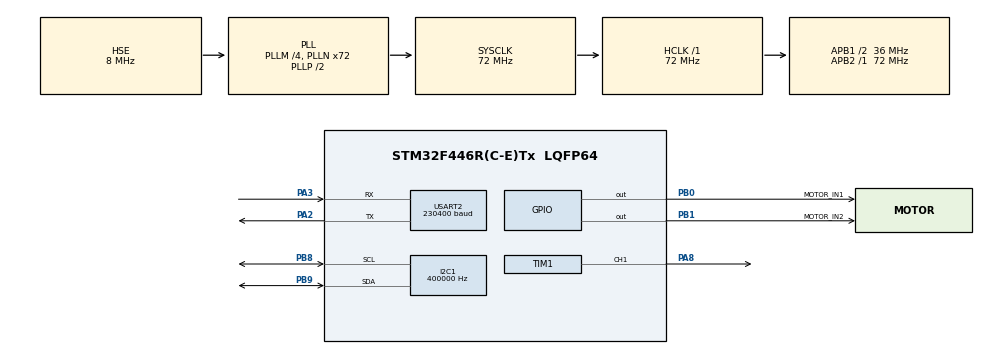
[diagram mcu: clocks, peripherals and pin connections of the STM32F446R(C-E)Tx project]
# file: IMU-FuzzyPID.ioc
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I2C1.ClockSpeed=400000
I2C1.I2C_Speed_Mode=I2C_Fast
Mcu.Family=STM32F4
Mcu.Name=STM32F446R(C-E)Tx
Mcu.Package=LQFP64
NVIC.PriorityGroup=NVIC_PRIORITYGROUP_4
NVIC.TIM3_IRQn=true\:5\:0\:true\:false\:true\:true\:true\:true
PA13.Mode=Serial_Wire
PA13.Signal=SYS_JTMS-SWDIO
PA14.Mode=Serial_Wire
PA14.Signal=SYS_JTCK-SWCLK
PA2.Mode=Asynchronous
PA2.Signal=USART2_TX
PA3.Mode=Asynchronous
PA3.Signal=USART2_RX
PA8.Signal=S_TIM1_CH1
PB0.GPIO_Label=MOTOR_IN1
PB0.Signal=GPIO_Output
PB1.GPIO_Label=MOTOR_IN2
PB1.Signal=GPIO_Output
PB3.Signal=SYS_JTDO-SWO
PB8.Mode=I2C
PB8.Signal=I2C1_SCL
PB9.Mode=I2C
PB9.Signal=I2C1_SDA
PC14-OSC32_IN.Signal=RCC_OSC32_IN
PC15-OSC32_OUT.Signal=RCC_OSC32_OUT
PH0-OSC_IN.Mode=HSE-External-Oscillator
PH0-OSC_IN.Signal=RCC_OSC_IN
PH1-OSC_OUT.Mode=HSE-External-Oscillator
PH1-OSC_OUT.Signal=RCC_OSC_OUT
ProjectManager.HeapSize=0x200
ProjectManager.StackSize=0x400
ProjectManager.TargetToolchain=STM32CubeIDE
RCC.48MHZClocksFreq_Value=84000000
RCC.AHBFreq_Value=72000000
RCC.APB1CLKDivider=RCC_HCLK_DIV2
RCC.APB1Freq_Value=36000000
RCC.APB1TimFreq_Value=72000000
RCC.APB2Freq_Value=72000000
RCC.APB2TimFreq_Value=72000000
RCC.CortexFreq_Value=72000000
RCC.FLatency-AdvancedSettings=FLASH_LATENCY_2
RCC.HCLKFreq_Value=72000000
RCC.HSE_VALUE=8000000
RCC.HSI_VALUE=16000000
RCC.PLLM=4
RCC.PLLN=72
RCC.PLLSourceVirtual=RCC_PLLSOURCE_HSE
RCC.SYSCLKFreq_VALUE=72000000
RCC.SYSCLKSource=RCC_SYSCLKSOURCE_PLLCLK
RCC.USBFreq_Value=72000000
RCC.VCOOutputFreq_Value=144000000
SH.S_TIM1_CH1.0=TIM1_CH1,PWM Generation1 CH1
TIM1.Channel-PWM\ Generation1\ CH1=TIM_CHANNEL_1
TIM1.Period=3599
TIM3.Period=49
TIM3.Prescaler=7199
USART2.BaudRate=230400
USART2.VirtualMode=VM_ASYNC
VP_TIM1_VS_ClockSourceINT.Mode=Internal
VP_TIM3_VS_ClockSourceINT.Mode=Internal
board=NUCLEO-F446RE

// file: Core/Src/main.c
/* USER CODE BEGIN Header */
/**
  ******************************************************************************
  * @file           : main.c
  * @brief          : Main program body
  ******************************************************************************
  * @attention
  *
  * Copyright (c) 2026 STMicroelectronics.
  * All rights reserved.
  *
  * This software is licensed under terms that can be found in the LICENSE file
  * in the root directory of this software component.
  * If no LICENSE file comes with this software, it is provided AS-IS.
  *
  ******************************************************************************
  */
/* printf("%f") needs no "Use float with printf" (-u _printf_float) project setting: USER CODE 0 links it. */
/* USER CODE END Header */
#include "main.h"

/* USER CODE BEGIN Includes */
#include <stdio.h>
#include <stdlib.h>
#include <string.h>
#include <math.h>
/* USER CODE END Includes */

/* USER CODE BEGIN PTD */
typedef struct { float r, psi, e, dk[3], k[3], delta_cmd, u; int16_t acc[3]; uint32_t isr_us; uint8_t failsafe; } telem_t;
/* USER CODE END PTD */

/* USER CODE BEGIN PD */
/* ---- Hardware map. Pins are assigned in IMU-FuzzyPID.ioc; change them there and these follow. ---- */
#define IMU_I2C               hi2c1                 // I2C1: PB8 SCL, PB9 SDA, 400 kHz
#define IMU_ADDR              (0x68 << 1)           // 0xD0, HAL expects the 8-bit address
#define PWM_TIM               htim1                 // TIM1_CH1 = PA8 -> L298N ENA, 72 MHz / 3600 = 20 kHz
#define PWM_CH                TIM_CHANNEL_1
#define CTRL_TIM              htim3                 // 72 MHz / 7200 / 50 = 200 Hz update IRQ
#define IN1_PORT              MOTOR_IN1_GPIO_Port   // PB0
#define IN1_PIN               MOTOR_IN1_Pin
#define IN2_PORT              MOTOR_IN2_GPIO_Port   // PB1
#define IN2_PIN               MOTOR_IN2_Pin

/* ---- MPU6050 ---- */
#define MPU6050_CONFIG        0x1A
#define MPU6050_ACCEL_XOUT_H  0x3B
#define MPU6050_PWR_MGMT_1    0x6B
#define MPU6050_WHO_AM_I      0x75
#define GYRO_LSB_PER_DPS      131.0f        // ±250 °/s
#define GYRO_CAL_SAMPLES      200           // x 5 ms = ~1 s at rest
#define GYRO_DEADBAND_DPS     0.5f          // |r| below this reads 0 so psi doesn't creep at rest; 0 disables
#define IMU_TIMEOUT_MS        2
#define IMU_MAX_FAILS         20            // 100 ms of bad reads in a row -> motor off

/* ---- Loop timing ---- */
#define TS_INNER              0.005f        // 200 Hz
#define OUTER_DIV             10            // outer loop every 10th tick
#define TS_OUTER              (TS_INNER * OUTER_DIV)   // 0.05 s = 20 Hz
#define TELEM_PERIOD_MS       100           // one ~1.8 kB frame takes ~77 ms at 230400 baud

/* ---- Outer heading loop + fuzzy scheduler ---- */
#define PSI_D                 0.0f          // heading setpoint [deg]; boot heading is 0
#define DELTA_MAX             30.0f         // steering command limit [deg]
#define GE                    (3.0f / 30.0f)   // e    [deg]   -> fuzzy universe [-3, 3]
#define GEC                   (3.0f / 15.0f)   // edot [deg/s] -> fuzzy universe [-3, 3]

/* ---- Inner steering loop ---- */
#define BENCH_TEST_NO_ENCODER 1             // 1: delta = 0, so u follows delta_cmd (no steering sensor yet)
#define IN_KP                 (1.0f / DELTA_MAX)   // full duty at full-lock error
#define IN_KI                 (BENCH_TEST_NO_ENCODER ? 0.0f : 0.10f)  // bench: no delta feedback, an I-term would only ramp u to the rail
#define IN_KD                 0.002f
#define IN_D_ALPHA            0.2f          // derivative LPF: Ts / (Tf + Ts), Tf = 20 ms
#define IN_DEADBAND           0.5f          // |e_delta| below this [deg]: motor off, integrator frozen
#define BOOST                 0.3f          // backlash kick on direction reversal...
#define BOOST_TICKS           4             // ...for this many 5 ms ticks
#define U_MIN                 0.15f         // smallest non-zero duty (motor stiction)
/* USER CODE END PD */

I2C_HandleTypeDef hi2c1;

TIM_HandleTypeDef htim1;
TIM_HandleTypeDef htim3;

UART_HandleTypeDef huart2;

/* USER CODE BEGIN PV */
volatile uint8_t fuzzy_enabled = 1;     // 0 = fixed BASE_GAINS. Flip it live from Live Expressions.

/* Outer gains {Kp [deg/deg], Ki [deg/(deg*s)], Kd [deg/(deg/s)]}: K = K_MIN + dK * (K_MAX - K_MIN) */
static const float K_MIN[3]      = {0.5f, 0.00f, 0.05f};
static const float K_MAX[3]      = {2.0f, 0.20f, 0.30f};
static const float BASE_GAINS[3] = {1.0f, 0.05f, 0.15f};

/* Fuzzy rules: row = e set, column = edot set, both in order NL NM NS ZE PS PM PL.
   Entry n is the crisp singleton 0.25 * n: 0 = 0.0, 1 = 0.25, 2 = 0.5, 3 = 0.75, 4 = 1.0 */
static const uint8_t RULE_KP[7][7] = {  // push hard while |e| is large and growing, ease off as it closes
  {4, 4, 4, 3, 3, 2, 2},
  {4, 4, 3, 3, 2, 2, 1},
  {3, 3, 3, 2, 2, 1, 1},
  {2, 2, 1, 1, 1, 2, 2},
  {1, 1, 2, 2, 3, 3, 3},
  {1, 2, 2, 3, 3, 4, 4},
  {2, 2, 3, 3, 4, 4, 4},
};
static const uint8_t RULE_KI[7][7] = {  // integrate only near the setpoint, never on big errors
  {0, 0, 0, 0, 0, 0, 0},
  {0, 0, 1, 1, 1, 0, 0},
  {1, 1, 2, 3, 2, 1, 1},
  {1, 2, 3, 4, 3, 2, 1},
  {1, 1, 2, 3, 2, 1, 1},
  {0, 0, 1, 1, 1, 0, 0},
  {0, 0, 0, 0, 0, 0, 0},
};
static const uint8_t RULE_KD[7][7] = {  // damp hardest near the setpoint while still turning fast
  {1, 1, 0, 0, 0, 1, 2},
  {1, 1, 1, 0, 1, 2, 2},
  {2, 1, 1, 1, 2, 3, 3},
  {4, 3, 2, 1, 2, 3, 4},
  {3, 3, 2, 1, 1, 1, 2},
  {2, 2, 1, 0, 1, 1, 1},
  {2, 1, 0, 0, 0, 1, 1},
};

static float gyro_bias_dps;
static volatile telem_t telem;          // ISR writes it, main loop snapshots it with IRQs off
/* USER CODE END PV */

void SystemClock_Config(void);
static void MX_GPIO_Init(void);
static void MX_USART2_UART_Init(void);
static void MX_I2C1_Init(void);
static void MX_TIM1_Init(void);
static void MX_TIM3_Init(void);

/* USER CODE BEGIN 0 */
// Link newlib-nano's float formatter so printf("%f") works. Same effect as the
// project setting "Use float with printf from newlib-nano (-u _printf_float)".
__asm(".global _printf_float");

// printf -> USART2 (the ST-LINK virtual COM port). syscalls.c _write() calls this.
int __io_putchar(int ch)
{
  HAL_UART_Transmit(&huart2, (uint8_t *)&ch, 1, HAL_MAX_DELAY);
  return ch;
}

static float clampf(float x, float lo, float hi) { return fminf(fmaxf(x, lo), hi); }

// Dashboard gauges. Each returns its own static buffer: use at most once per printf.
// [#######---]  x in [0, 1]
static const char *bar_uni(float x)
{
  static char s[] = "[----------]";
  int n = lrintf(clampf(x, 0.0f, 1.0f) * 10.0f);
  for (int i = 0; i < 10; i++)
    s[1 + i] = i < n ? '#' : '-';
  return s;
}

// [   <<<<<<<|          ]  x in [-full, +full]: negative fills left of the centre, positive right
static const char *bar_bi(float x, float full)
{
  static char s[] = "[          |          ]";
  int n = lrintf(clampf(fabsf(x) / full, 0.0f, 1.0f) * 10.0f);
  for (int i = 0; i < 10; i++)
  {
    s[10 - i] = x < 0.0f && i < n ? '<' : ' ';
    s[12 + i] = x > 0.0f && i < n ? '>' : ' ';
  }
  return s;
}

/* ---- Top view: 39 x 10 character ship outline, N (boot heading = setpoint) up. Main loop only. ---- */
#define CV_W          39
#define CV_H          10
#define CV_CY         4             // canvas row of the ship centre (W and E sit on it)
#define D2R           0.01745329f

// Body frame seen from above: x to the bow, y to starboard. Units are terminal columns.
static const float SHIP_V[6][2] = {
  {6, 0},                                                   // 0 bow
  {1.5f, -3.5f}, {-6, -3.5f}, {-6, 3.5f}, {1.5f, 3.5f},          // 1-4 port shoulder, port quarter, stbd quarter, stbd shoulder
  {-6, 0},                                                  // 5 rudder hinge (6, the tip, is computed)
};
static const uint8_t SHIP_E[6][2] = {{0, 1}, {1, 2}, {2, 3}, {3, 4}, {4, 0}, {5, 6}};

static void cv_plot(char cv[CV_H][CV_W + 1], int x, int y, char ch)
{
  if (x >= 0 && x < CV_W && y >= 0 && y < CV_H)
    cv[y][x] = ch;
}

// Bresenham. One character per edge, picked from its on-screen slope (a row is ~2 columns tall).
static void cv_line(char cv[CV_H][CV_W + 1], int x0, int y0, int x1, int y1)
{
  int dx = abs(x1 - x0), dy = -abs(y1 - y0), sx = x0 < x1 ? 1 : -1, sy = y0 < y1 ? 1 : -1, err = dx + dy;
  char ch = dx > -3 * dy ? '-' : -dy > dx ? '|' : sx == sy ? '\\' : '/';

  for (;;)
  {
    cv_plot(cv, x0, y0, ch);
    if (x0 == x1 && y0 == y1)
      return;
    int e2 = 2 * err;
    if (e2 >= dy) { err += dy; x0 += sx; }
    if (e2 <= dx) { err += dx; y0 += sy; }
  }
}

// Body (x, y) -> canvas, yawed by psi (clockwise). North is up; rows are ~2 columns tall.
static void ship_project(float x, float y, float s, float c, int *col, int *row)
{
  *col = lrintf(CV_W / 2 + x * s + y * c);
  *row = lrintf(CV_CY - (x * c - y * s) * 0.5f);
}

// psi [deg] turns the hull (+ = clockwise), delta [deg] swings the rudder (+ = trailing edge to
// starboard = bow turns to starboard). frame animates the wake.
static void ship_render(char cv[CV_H][CV_W + 1], float psi, float delta, uint32_t frame)
{
  float s = sinf(psi * D2R), c = cosf(psi * D2R), d = clampf(delta, -DELTA_MAX, DELTA_MAX) * D2R;
  float v[7][2];
  int px[7], py[7], wx, wy;

  for (int i = 0; i < CV_H; i++)
  {
    memset(cv[i], ' ', CV_W);
    cv[i][CV_W] = '\0';
  }
  cv[0][CV_W / 2] = 'N';  // compass letters sit under the ship
  cv[CV_H - 1][CV_W / 2] = 'S';
  cv[CV_CY][0] = 'W';
  cv[CV_CY][CV_W - 1] = 'E';
  for (int k = 0; k < 2; k++)  // wake: a V of ~ sliding aft one column per frame
    for (int side = -1; side <= 1; side += 2)
    {
      float a = 2.0f + 3.0f * k + frame % 3;
      ship_project(-8.0f - a, side * 0.8f * a, s, c, &wx, &wy);
      cv_plot(cv, wx, wy, '~');
    }

  memcpy(v, SHIP_V, sizeof SHIP_V);
  v[6][0] = -6.0f - 3.0f * cosf(d);  // rudder tip: 3 long, swung by delta about the hinge
  v[6][1] = 3.0f * sinf(d);
  for (int i = 0; i < 7; i++)
    ship_project(v[i][0], v[i][1], s, c, &px[i], &py[i]);
  for (int i = 0; i < 6; i++)
    cv_line(cv, px[SHIP_E[i][0]], py[SHIP_E[i][0]], px[SHIP_E[i][1]], py[SHIP_E[i][1]]);
  for (int i = 1; i <= 4; i++)
    cv_plot(cv, px[i], py[i], '+');
  int bx = px[0] - CV_W / 2, by = 2 * (py[0] - CV_CY);  // bow marker points where the bow points
  cv_plot(cv, px[0], py[0], abs(bx) > abs(by) ? (bx > 0 ? '>' : '<') : (by < 0 ? '^' : 'v'));
}

// Tilt from gravity [deg]: roll + = starboard down, pitch + = bow down (MPU X arrow at the bow,
// chip face up). Any common scale (raw counts, sums of samples) cancels inside atan2.
static void accel_tilt(float ax, float ay, float az, float *roll, float *pitch)
{
  *roll = atan2f(ay, az) / D2R;
  *pitch = atan2f(-ax, sqrtf(ay * ay + az * az)) / D2R;
}

static HAL_StatusTypeDef MPU6050_Init(void)
{
  uint8_t who = 0, wake = 0x00, dlpf = 0x03;  // DLPF 42 Hz: stops 200 Hz sampling aliasing gyro noise

  if (HAL_I2C_Mem_Read(&IMU_I2C, IMU_ADDR, MPU6050_WHO_AM_I, I2C_MEMADD_SIZE_8BIT, &who, 1, 100) != HAL_OK)
    return HAL_ERROR;
  printf("WHO_AM_I = 0x%02X (0x68 genuine, 0x70 clone)\r\n", who);

  // Clear the SLEEP bit: PWR_MGMT_1 = 0x00
  if (HAL_I2C_Mem_Write(&IMU_I2C, IMU_ADDR, MPU6050_PWR_MGMT_1, I2C_MEMADD_SIZE_8BIT, &wake, 1, 100) != HAL_OK)
    return HAL_ERROR;
  return HAL_I2C_Mem_Write(&IMU_I2C, IMU_ADDR, MPU6050_CONFIG, I2C_MEMADD_SIZE_8BIT, &dlpf, 1, 100);
}

// One 14-byte burst from ACCEL_XOUT_H: AX AY AZ TEMP GX GY GZ, big-endian pairs.
// r = bias-corrected yaw rate [deg/s], clockwise-positive; acc = raw accel (16384 LSB/g).
// HAL_ERROR on a bus fault or a railed (stuck/saturated) gyro reading.
// ponytail: a bus stuck BUSY costs HAL's fixed 25 ms per call; add SCL-toggle bus recovery if that ever shows up.
static HAL_StatusTypeDef imu_read_yaw_rate_dps(float *r, int16_t acc[3])
{
  uint8_t b[14];

  if (HAL_I2C_Mem_Read(&IMU_I2C, IMU_ADDR, MPU6050_ACCEL_XOUT_H, I2C_MEMADD_SIZE_8BIT, b, 14, IMU_TIMEOUT_MS) != HAL_OK)
    return HAL_ERROR;
  for (int i = 0; i < 3; i++)
    acc[i] = (int16_t)(b[2 * i] << 8 | b[2 * i + 1]);
  int16_t gz = (int16_t)(b[12] << 8 | b[13]);
  if (gz == INT16_MAX || gz == INT16_MIN)
    return HAL_ERROR;
  *r = -gz / GYRO_LSB_PER_DPS - gyro_bias_dps;  // chip Z points up (az = +1 g at rest), so +gz is counter-clockwise
  return HAL_OK;
}

// L298N: u > 0 FWD, u < 0 REV, u == 0 both IN low (coast). Duty = |u| * ARR on ENA.
static void motor_set(float u)
{
  HAL_GPIO_WritePin(IN1_PORT, IN1_PIN, u > 0.0f ? GPIO_PIN_SET : GPIO_PIN_RESET);
  HAL_GPIO_WritePin(IN2_PORT, IN2_PIN, u < 0.0f ? GPIO_PIN_SET : GPIO_PIN_RESET);
  __HAL_TIM_SET_COMPARE(&PWM_TIM, PWM_CH, (uint32_t)(fabsf(u) * __HAL_TIM_GET_AUTORELOAD(&PWM_TIM)));
}

// 7 triangular sets NL..PL, unit-spaced on [-3, 3]. Any input sits in at most 2 adjacent sets,
// so only 2 x 2 = 4 rules fire. min() AND, weighted average of singletons (centroid). dk[] in [0, 1].
static void fuzzy_schedule(float e, float edot, float dk[3])
{
  float x = clampf(e * GE, -3.0f, 3.0f) + 3.0f;      // 0..6, set index space
  float y = clampf(edot * GEC, -3.0f, 3.0f) + 3.0f;
  int i = x < 6.0f ? (int)x : 5, j = y < 6.0f ? (int)y : 5;
  float mx[2] = {i + 1 - x, x - i}, my[2] = {j + 1 - y, y - j};  // membership in set i / i+1
  float wsum = 0.0f, acc[3] = {0};

  for (int a = 0; a < 2; a++)
    for (int b = 0; b < 2; b++)
    {
      float w = fminf(mx[a], my[b]);
      wsum   += w;
      acc[0] += w * RULE_KP[i + a][j + b];
      acc[1] += w * RULE_KI[i + a][j + b];
      acc[2] += w * RULE_KD[i + a][j + b];
    }
  for (int k = 0; k < 3; k++)
    dk[k] = 0.25f * acc[k] / wsum;  // wsum >= 0.5: each input has one set with membership >= 0.5
}

// Boot check: a grid point returns its table entry, a midpoint blends its two neighbours,
// out-of-range inputs clamp to the edge sets, and the heading wrap folds 190 to -170.
static int fuzzy_selftest(void)
{
  float dk[3];
  int ok;

  fuzzy_schedule(0.0f, 0.0f, dk);
  ok = dk[0] == 0.25f * RULE_KP[3][3] && dk[1] == 0.25f * RULE_KI[3][3] && dk[2] == 0.25f * RULE_KD[3][3];
  fuzzy_schedule(15.0f, 0.0f, dk);  // e = 15 deg -> 1.5 = halfway PS..PM
  ok &= fabsf(dk[0] - 0.25f * (RULE_KP[4][3] + RULE_KP[5][3]) / 2.0f) < 1e-6f;
  fuzzy_schedule(1e6f, -1e6f, dk);  // e = PL, edot = NL
  ok &= dk[0] == 0.25f * RULE_KP[6][0];
  ok &= remainderf(190.0f, 360.0f) == -170.0f;
  return ok;
}

// 20 Hz heading PID -> steering command delta_cmd [deg]. D on measurement (-Kd*r),
// conditional-integration anti-windup.
static float outer_step(float e, float r, float dk[3], float k[3])
{
  static float integ;

  fuzzy_schedule(e, -r, dk);  // edot = -r because psi_d is constant
  for (int n = 0; n < 3; n++)
    k[n] = fuzzy_enabled ? K_MIN[n] + dk[n] * (K_MAX[n] - K_MIN[n]) : BASE_GAINS[n];
#if BENCH_TEST_NO_ENCODER
  k[1] = 0.0f;  // bench: no hull turns the heading back, so an I-term only winds the rudder onto its stop
#endif

  float di = k[1] * e * TS_OUTER;
  float u = k[0] * e + integ + di - k[2] * r;
  if (fabsf(u) < DELTA_MAX || u * e < 0.0f)  // integrate only when unsaturated or unwinding
    integ += di;
  return clampf(k[0] * e + integ - k[2] * r, -DELTA_MAX, DELTA_MAX);
}

// 200 Hz steering PID -> signed motor command u in [-1, 1].
static float inner_step(float delta_cmd, float delta)
{
  static float integ, d_filt, delta_prev;
  static int8_t last_dir;
  static uint8_t boost_left;
  float e = delta_cmd - delta;

  d_filt += IN_D_ALPHA * (-(delta - delta_prev) / TS_INNER - d_filt);  // D on measurement, low-passed
  delta_prev = delta;
  if (fabsf(e) < IN_DEADBAND)
    return 0.0f;  // deadband: motor off, integrator frozen

  float di = IN_KI * e * TS_INNER;
  float u = IN_KP * e + integ + di + IN_KD * d_filt;
  if (fabsf(u) < 1.0f || u * e < 0.0f)
    integ += di;
  u = clampf(IN_KP * e + integ + IN_KD * d_filt, -1.0f, 1.0f);

  int8_t dir = (u > 0.0f) - (u < 0.0f);
  if (dir && last_dir && dir != last_dir)
    boost_left = BOOST_TICKS;  // reversal: kick through gear backlash
  if (dir)
    last_dir = dir;
  u = dir * (U_MIN + (1.0f - U_MIN) * fabsf(u));  // lift past stiction, keep the slope
  if (boost_left)
  {
    boost_left--;
    u += dir * BOOST;
  }
  return clampf(u, -1.0f, 1.0f);
}
/* USER CODE END 0 */

int main(void)
{

  /* MCU Configuration--------------------------------------------------------*/

  /* Reset of all peripherals, Initializes the Flash interface and the Systick. */
  HAL_Init();

  /* Configure the system clock */
  SystemClock_Config();

  /* Initialize all configured peripherals */
  MX_GPIO_Init();
  MX_USART2_UART_Init();
  MX_I2C1_Init();
  MX_TIM1_Init();
  MX_TIM3_Init();
  /* USER CODE BEGIN 2 */
  HAL_Delay(100);  // MPU6050 power-up time (datasheet: 100 ms max)
  if (MPU6050_Init() != HAL_OK)
  {
    printf("MPU6050 not responding at 0x68. I2C bus scan:\r\n");
    for (uint8_t a = 1; a < 128; a++)
      if (HAL_I2C_IsDeviceReady(&IMU_I2C, a << 1, 1, 10) == HAL_OK)
        printf("  device at 0x%02X\r\n", a);
    printf("Scan done - nothing listed = check SDA/SCL swap, 0x69 = AD0 is high\r\n");
    Error_Handler();
  }
  printf("MPU6050 awake\r\n");

  if (!fuzzy_selftest())
  {
    printf("Fuzzy self-test FAILED\r\n");
    Error_Handler();
  }

  // IMU calibration, board still and level: average the gyro Z zero-rate bias (gyro_bias_dps is
  // still 0 here) and the accel, whose tilt becomes the level reference for roll/pitch.
  printf("Calibrating IMU - keep the board still and level...\r\n");
  HAL_Delay(100);  // let the gyro settle after wake-up
  float sum = 0.0f, r, a[3] = {0}, roll0, pitch0;
  int16_t acc[3];
  for (int n = 0; n < GYRO_CAL_SAMPLES; n++)
  {
    if (imu_read_yaw_rate_dps(&r, acc) != HAL_OK)
    {
      printf("IMU read error during calibration\r\n");
      Error_Handler();
    }
    sum += r;
    for (int i = 0; i < 3; i++)
      a[i] += acc[i];
    HAL_Delay(5);
  }
  gyro_bias_dps = sum / GYRO_CAL_SAMPLES;
  // ponytail: subtracting angles is exact only for a small mount tilt; rotate the gravity vector instead if the board sits >10 deg off level
  accel_tilt(a[0], a[1], a[2], &roll0, &pitch0);
  printf("Gyro Z bias %+.3f deg/s, level offset roll %+.1f / pitch %+.1f deg removed. Heading now 0.\r\n",
         gyro_bias_dps, roll0, pitch0);

  CoreDebug->DEMCR |= CoreDebug_DEMCR_TRCENA_Msk;  // DWT cycle counter, for the ISR load readout
  DWT->CTRL |= DWT_CTRL_CYCCNTENA_Msk;
  printf("\033[2J\033[?25l");  // clear screen, hide cursor: from here the dashboard redraws in place
  HAL_TIM_PWM_Start(&PWM_TIM, PWM_CH);
  HAL_TIM_Base_Start_IT(&CTRL_TIM);  // 200 Hz loop now runs in HAL_TIM_PeriodElapsedCallback
  uint32_t t0 = HAL_GetTick(), frame = 0;
  float roll = 0.0f, pitch = 0.0f;  // accel tilt [deg], low-passed per frame
  /* USER CODE END 2 */

  /* Infinite loop */
  while (1)
  {

    /* USER CODE BEGIN 3 */
    while (HAL_GetTick() - t0 < TELEM_PERIOD_MS) {}
    t0 = HAL_GetTick();

    __disable_irq();
    telem_t t = telem;  // consistent snapshot: the ISR can't run mid-copy
    __enable_irq();

    float rl, pt;
    accel_tilt(t.acc[0], t.acc[1], t.acc[2], &rl, &pt);
    roll  += 0.25f * (rl - roll0 - roll);    // relative to the boot level, low-passed
    pitch += 0.25f * (pt - pitch0 - pitch);  // (alpha 0.25) to reject motor vibration

    char cv[CV_H][CV_W + 1];
    ship_render(cv, t.psi, t.delta_cmd, frame++);
    const char *mode = t.failsafe ? "IMU FAILSAFE" : fuzzy_enabled ? "FUZZY ACTIVE" : "FIXED GAINS";
    const char *dir = t.u > 0.0f ? "FWD" : t.u < 0.0f ? "REV" : "STOP";

    printf("\033[H"
           "+================================================================================+\r\n"
           "|          STM32F446RE FUZZY CASCADE PID - TOP VIEW & BENCH TELEMETRY            |\r\n");
    printf("| Mode: [%-12s] | Loop: 200Hz/20Hz | ISR Load: %4lu us / 5000 us          |\r\n", mode, t.isr_us);
    printf("+-----------------------------------------+--------------------------------------+\r\n"
           "| TOP VIEW: HEADING  (N = 0 deg, setpoint)| 1. IMU & ATTITUDE (MPU6050)          |\r\n");
    printf("|                                         |  Yaw Rate (r)   : %+7.2f deg/s      |\r\n", t.r);
    printf("| %s |  Heading (psi)  : %+7.2f deg        |\r\n", cv[0], t.psi);
    printf("| %s |  Roll / Pitch   : %+6.1f / %+5.1f deg |\r\n", cv[1], roll, pitch);
    printf("| %s |  Setpoint (psid): %7.2f deg        |\r\n", cv[2], PSI_D);
    printf("| %s |  Error (e)      : %+7.2f deg        |\r\n", cv[3], t.e);
    printf("| %s |  Err: %s        |\r\n", cv[4], bar_bi(t.e, 30.0f));
    printf("| %s +--------------------------------------+\r\n", cv[5]);
    printf("| %s | 2. FUZZY GAIN SCHEDULER (20 Hz)      |\r\n", cv[6]);
    printf("| %s |  dKp: %4.2f %s Kp: %4.2f     |\r\n", cv[7], t.dk[0], bar_uni(t.dk[0]), t.k[0]);
    printf("| %s |  dKi: %4.2f %s Ki: %4.2f     |\r\n", cv[8], t.dk[1], bar_uni(t.dk[1]), t.k[1]);
    printf("| %s |  dKd: %4.2f %s Kd: %4.2f     |\r\n", cv[9], t.dk[2], bar_uni(t.dk[2]), t.k[2]);
    printf("+-----------------------------------------+--------------------------------------+\r\n"
           "| 3. CASCADE ACTUATOR & L298N MOTOR DRIVER (20 kHz PWM)                          |\r\n");
    printf("|  Steering Cmd (delta_cmd) : %+6.2f deg  | L298N PWM (PA8): %5.1f %% [ %-4s]     |\r\n",
           t.delta_cmd, fabsf(t.u) * 100.0f, dir);
    printf("|  Signed Command (u)       : %+6.2f      | Drive REV %s FWD|\r\n", t.u, bar_bi(t.u, 1.0f));
    printf("+================================================================================+\r\n");
  }
  /* USER CODE END 3 */
}

void SystemClock_Config(void)
{
  RCC_OscInitTypeDef RCC_OscInitStruct = {0};
  RCC_ClkInitTypeDef RCC_ClkInitStruct = {0};

  /** Configure the main internal regulator output voltage
  */
  __HAL_RCC_PWR_CLK_ENABLE();
  __HAL_PWR_VOLTAGESCALING_CONFIG(PWR_REGULATOR_VOLTAGE_SCALE3);

  /** Initializes the RCC Oscillators according to the specified parameters
  * in the RCC_OscInitTypeDef structure.
  */
  RCC_OscInitStruct.OscillatorType = RCC_OSCILLATORTYPE_HSE;
  RCC_OscInitStruct.HSEState = RCC_HSE_ON;
  RCC_OscInitStruct.PLL.PLLState = RCC_PLL_ON;
  RCC_OscInitStruct.PLL.PLLSource = RCC_PLLSOURCE_HSE;
  RCC_OscInitStruct.PLL.PLLM = 4;
  RCC_OscInitStruct.PLL.PLLN = 72;
  RCC_OscInitStruct.PLL.PLLP = RCC_PLLP_DIV2;
  RCC_OscInitStruct.PLL.PLLQ = 2;
  RCC_OscInitStruct.PLL.PLLR = 2;
  if (HAL_RCC_OscConfig(&RCC_OscInitStruct) != HAL_OK)
  {
    Error_Handler();
  }

  /** Initializes the CPU, AHB and APB buses clocks
  */
  RCC_ClkInitStruct.ClockType = RCC_CLOCKTYPE_HCLK|RCC_CLOCKTYPE_SYSCLK
                              |RCC_CLOCKTYPE_PCLK1|RCC_CLOCKTYPE_PCLK2;
  RCC_ClkInitStruct.SYSCLKSource = RCC_SYSCLKSOURCE_PLLCLK;
  RCC_ClkInitStruct.AHBCLKDivider = RCC_SYSCLK_DIV1;
  RCC_ClkInitStruct.APB1CLKDivider = RCC_HCLK_DIV2;
  RCC_ClkInitStruct.APB2CLKDivider = RCC_HCLK_DIV1;

  if (HAL_RCC_ClockConfig(&RCC_ClkInitStruct, FLASH_LATENCY_2) != HAL_OK)
  {
    Error_Handler();
  }
}

static void MX_I2C1_Init(void)
{

  hi2c1.Instance = I2C1;
  hi2c1.Init.ClockSpeed = 400000;
  hi2c1.Init.DutyCycle = I2C_DUTYCYCLE_2;
  hi2c1.Init.OwnAddress1 = 0;
  hi2c1.Init.AddressingMode = I2C_ADDRESSINGMODE_7BIT;
  hi2c1.Init.DualAddressMode = I2C_DUALADDRESS_DISABLE;
  hi2c1.Init.OwnAddress2 = 0;
  hi2c1.Init.GeneralCallMode = I2C_GENERALCALL_DISABLE;
  hi2c1.Init.NoStretchMode = I2C_NOSTRETCH_DISABLE;
  if (HAL_I2C_Init(&hi2c1) != HAL_OK)
  {
    Error_Handler();
  }

}

static void MX_TIM1_Init(void)
{

  TIM_ClockConfigTypeDef sClockSourceConfig = {0};
  TIM_MasterConfigTypeDef sMasterConfig = {0};
  TIM_OC_InitTypeDef sConfigOC = {0};
  TIM_BreakDeadTimeConfigTypeDef sBreakDeadTimeConfig = {0};

  htim1.Instance = TIM1;
  htim1.Init.Prescaler = 0;
  htim1.Init.CounterMode = TIM_COUNTERMODE_UP;
  htim1.Init.Period = 3599;
  htim1.Init.ClockDivision = TIM_CLOCKDIVISION_DIV1;
  htim1.Init.RepetitionCounter = 0;
  htim1.Init.AutoReloadPreload = TIM_AUTORELOAD_PRELOAD_DISABLE;
  if (HAL_TIM_Base_Init(&htim1) != HAL_OK)
  {
    Error_Handler();
  }
  sClockSourceConfig.ClockSource = TIM_CLOCKSOURCE_INTERNAL;
  if (HAL_TIM_ConfigClockSource(&htim1, &sClockSourceConfig) != HAL_OK)
  {
    Error_Handler();
  }
  if (HAL_TIM_PWM_Init(&htim1) != HAL_OK)
  {
    Error_Handler();
  }
  sMasterConfig.MasterOutputTrigger = TIM_TRGO_RESET;
  sMasterConfig.MasterSlaveMode = TIM_MASTERSLAVEMODE_DISABLE;
  if (HAL_TIMEx_MasterConfigSynchronization(&htim1, &sMasterConfig) != HAL_OK)
  {
    Error_Handler();
  }
  sConfigOC.OCMode = TIM_OCMODE_PWM1;
  sConfigOC.Pulse = 0;
  sConfigOC.OCPolarity = TIM_OCPOLARITY_HIGH;
  sConfigOC.OCNPolarity = TIM_OCNPOLARITY_HIGH;
  sConfigOC.OCFastMode = TIM_OCFAST_DISABLE;
  sConfigOC.OCIdleState = TIM_OCIDLESTATE_RESET;
  sConfigOC.OCNIdleState = TIM_OCNIDLESTATE_RESET;
  if (HAL_TIM_PWM_ConfigChannel(&htim1, &sConfigOC, TIM_CHANNEL_1) != HAL_OK)
  {
    Error_Handler();
  }
  sBreakDeadTimeConfig.OffStateRunMode = TIM_OSSR_DISABLE;
  sBreakDeadTimeConfig.OffStateIDLEMode = TIM_OSSI_DISABLE;
  sBreakDeadTimeConfig.LockLevel = TIM_LOCKLEVEL_OFF;
  sBreakDeadTimeConfig.DeadTime = 0;
  sBreakDeadTimeConfig.BreakState = TIM_BREAK_DISABLE;
  sBreakDeadTimeConfig.BreakPolarity = TIM_BREAKPOLARITY_HIGH;
  sBreakDeadTimeConfig.AutomaticOutput = TIM_AUTOMATICOUTPUT_DISABLE;
  if (HAL_TIMEx_ConfigBreakDeadTime(&htim1, &sBreakDeadTimeConfig) != HAL_OK)
  {
    Error_Handler();
  }
  HAL_TIM_MspPostInit(&htim1);

}

static void MX_TIM3_Init(void)
{

  TIM_ClockConfigTypeDef sClockSourceConfig = {0};
  TIM_MasterConfigTypeDef sMasterConfig = {0};

  htim3.Instance = TIM3;
  htim3.Init.Prescaler = 7199;
  htim3.Init.CounterMode = TIM_COUNTERMODE_UP;
  htim3.Init.Period = 49;
  htim3.Init.ClockDivision = TIM_CLOCKDIVISION_DIV1;
  htim3.Init.AutoReloadPreload = TIM_AUTORELOAD_PRELOAD_DISABLE;
  if (HAL_TIM_Base_Init(&htim3) != HAL_OK)
  {
    Error_Handler();
  }
  sClockSourceConfig.ClockSource = TIM_CLOCKSOURCE_INTERNAL;
  if (HAL_TIM_ConfigClockSource(&htim3, &sClockSourceConfig) != HAL_OK)
  {
    Error_Handler();
  }
  sMasterConfig.MasterOutputTrigger = TIM_TRGO_RESET;
  sMasterConfig.MasterSlaveMode = TIM_MASTERSLAVEMODE_DISABLE;
  if (HAL_TIMEx_MasterConfigSynchronization(&htim3, &sMasterConfig) != HAL_OK)
  {
    Error_Handler();
  }

}

static void MX_USART2_UART_Init(void)
{

  huart2.Instance = USART2;
  huart2.Init.BaudRate = 230400;
  huart2.Init.WordLength = UART_WORDLENGTH_8B;
  huart2.Init.StopBits = UART_STOPBITS_1;
  huart2.Init.Parity = UART_PARITY_NONE;
  huart2.Init.Mode = UART_MODE_TX_RX;
  huart2.Init.HwFlowCtl = UART_HWCONTROL_NONE;
  huart2.Init.OverSampling = UART_OVERSAMPLING_16;
  if (HAL_UART_Init(&huart2) != HAL_OK)
  {
    Error_Handler();
  }

}

static void MX_GPIO_Init(void)
{
  GPIO_InitTypeDef GPIO_InitStruct = {0};

  /* GPIO Ports Clock Enable */
  __HAL_RCC_GPIOC_CLK_ENABLE();
  __HAL_RCC_GPIOH_CLK_ENABLE();
  __HAL_RCC_GPIOA_CLK_ENABLE();
  __HAL_RCC_GPIOB_CLK_ENABLE();

  /*Configure GPIO pin Output Level */
  HAL_GPIO_WritePin(GPIOB, MOTOR_IN1_Pin|MOTOR_IN2_Pin, GPIO_PIN_RESET);

  /*Configure GPIO pins : MOTOR_IN1_Pin MOTOR_IN2_Pin */
  GPIO_InitStruct.Pin = MOTOR_IN1_Pin|MOTOR_IN2_Pin;
  GPIO_InitStruct.Mode = GPIO_MODE_OUTPUT_PP;
  GPIO_InitStruct.Pull = GPIO_NOPULL;
  GPIO_InitStruct.Speed = GPIO_SPEED_FREQ_LOW;
  HAL_GPIO_Init(GPIOB, &GPIO_InitStruct);

}

/* USER CODE BEGIN 4 */
// One 5 ms control step: read r, integrate psi, outer loop every 10th step, inner loop, drive the L298N.
static void control_step(void)
{
  static float r, psi, delta_cmd, dk[3], k[3];
  static int16_t acc[3];
  static uint32_t tick, fails;

  if (imu_read_yaw_rate_dps(&r, acc) == HAL_OK)
    fails = 0;
  else if (++fails >= IMU_MAX_FAILS)  // keep the last r for a few bad reads, then stop rather than steer blind
  {
    motor_set(0.0f);
    telem.u = 0.0f;
    telem.failsafe = 1;
    return;
  }
  if (fabsf(r) < GYRO_DEADBAND_DPS)
    r = 0.0f;

  psi = remainderf(psi + r * TS_INNER, 360.0f);  // heading estimate, wrapped to +-180
  float e = remainderf(PSI_D - psi, 360.0f);

  if (++tick >= OUTER_DIV)
  {
    tick = 0;
    delta_cmd = outer_step(e, r, dk, k);
  }

#if BENCH_TEST_NO_ENCODER
  float delta = 0.0f;
#else
#error "No steering angle sensor yet: read it into delta [deg] here"
#endif
  float u = inner_step(delta_cmd, delta);
  motor_set(u);

  telem = (telem_t){r, psi, e, {dk[0], dk[1], dk[2]}, {k[0], k[1], k[2]}, delta_cmd, u, {acc[0], acc[1], acc[2]}};
}

// TIM3 200 Hz, prio 5. Blocking I2C is fine here: SysTick (prio 0) preempts it, so HAL timeouts
// still advance, and nothing else touches I2C1 once the loop is started.
void HAL_TIM_PeriodElapsedCallback(TIM_HandleTypeDef *htim)
{
  if (htim->Instance != CTRL_TIM.Instance)
    return;
  uint32_t t0 = DWT->CYCCNT;
  control_step();
  telem.isr_us = (DWT->CYCCNT - t0) / (SystemCoreClock / 1000000U);
}
/* USER CODE END 4 */

void Error_Handler(void)
{
  /* USER CODE BEGIN Error_Handler_Debug */
  /* User can add his own implementation to report the HAL error return state */
  __disable_irq();
  HAL_GPIO_WritePin(IN1_PORT, IN1_PIN, GPIO_PIN_RESET);  // both IN low: L298N coasts whatever ENA does
  HAL_GPIO_WritePin(IN2_PORT, IN2_PIN, GPIO_PIN_RESET);
  while (1)
  {
  }
  /* USER CODE END Error_Handler_Debug */
}
